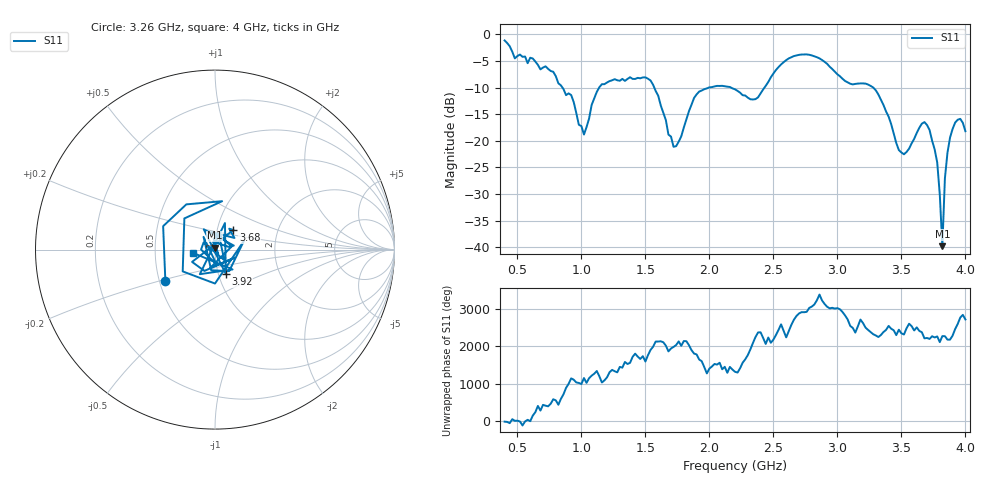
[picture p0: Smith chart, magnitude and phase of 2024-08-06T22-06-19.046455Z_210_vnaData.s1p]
!Created with skrf (http://scikit-rf.org).
# Hz S RI R 50.0
!freq ReS11 ImS11
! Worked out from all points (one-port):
!   181 points, 400 MHz to 4 GHz, reference 50 ohm
!   lowest |S11| = -39.8 dB at 3.82 GHz (marker M1), VSWR 1.02, Z = 49.7 + j0.98 ohm
!   |S11| at or under -10 dB: 852.2 MHz to 1.138 GHz (286.2 MHz wide, 28.8 % of centre); 1.569 GHz to 1.995 GHz (425.5 MHz wide, 23.9 % of centre); 3.281 GHz to end of sweep (the widest 3 of 4)
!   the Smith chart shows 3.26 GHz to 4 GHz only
!   S11 on the Smith chart (normalised r, x): 3.26 GHz: 0.54, -0.21; 3.68 GHz: 1.20, +0.27; 3.92 GHz: 1.08, -0.30; 4 GHz: 0.78, -0.03
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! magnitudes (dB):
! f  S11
! 400 MHz  -1.1
! 480 MHz  -4.5
! 860 MHz  -10.3
! 920 MHz  -11.4
! 1.02 GHz  -18.8
! 1.14 GHz  -9.9
! 1.3 GHz  -8.7
! 1.54 GHz  -8.7
! 1.72 GHz  -21.1
! 1.76 GHz  -20.2
! 1.92 GHz  -10.7
! 2.2 GHz  -10.3
! 2.36 GHz  -12.2
! 2.66 GHz  -4.1
! 2.86 GHz  -4.5
! 3.1 GHz  -9.3
! 3.26 GHz  -9.7
! 3.4 GHz  -15.4
! 3.48 GHz  -21.7
! 3.56 GHz  -21.5
! 3.68 GHz  -16.5
! 3.78 GHz  -24.1
! 3.8 GHz  -30.1
! 3.82 GHz  -39.8
! 3.84 GHz  -27.0
! 3.86 GHz  -22.2
! 3.92 GHz  -16.6
! 4 GHz  -18.2
